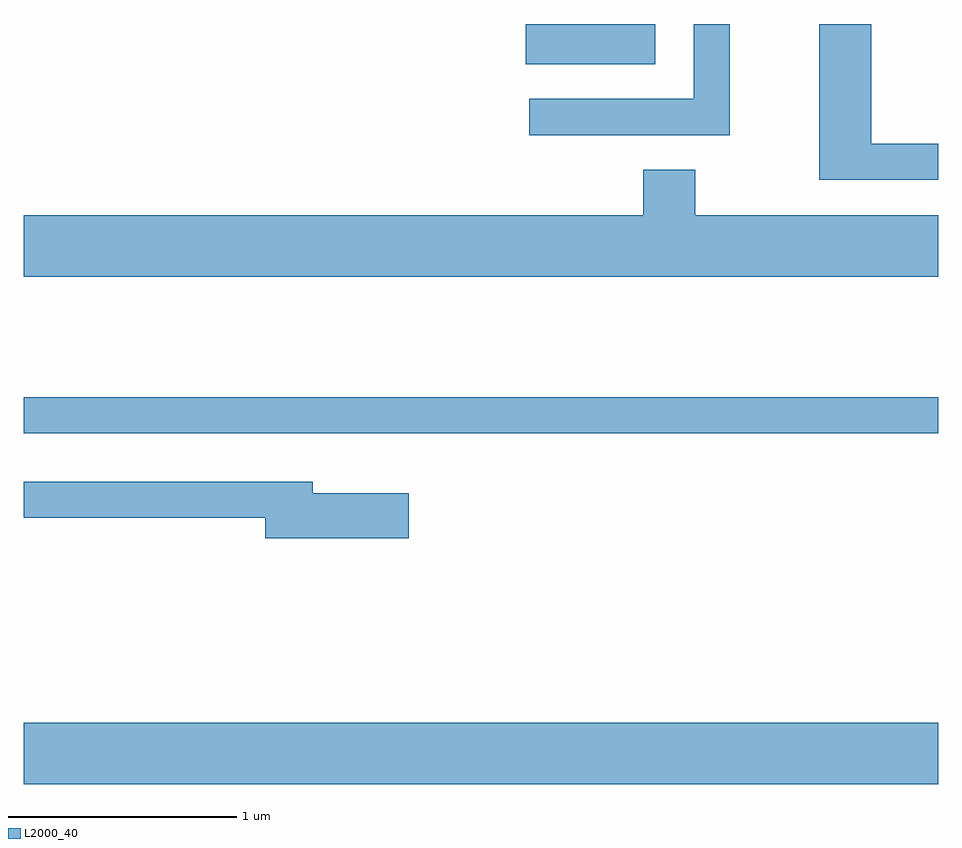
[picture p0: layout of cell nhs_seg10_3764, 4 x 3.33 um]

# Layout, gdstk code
import gdstk
lib = gdstk.Library(unit=1e-6, precision=1e-09)
def R(c, l, rs):  # rectangles x0, y0, x1, y1
    for r in rs: c.add(gdstk.rectangle(r[:2], r[2:], *l))
def P(c, l, *ps):  # polygons
    for p in ps: c.add(gdstk.Polygon(p, *l))
L2000_40 = (2000, 40)

nhs_seg10_3764 = lib.new_cell('nhs_seg10_3764')
R(nhs_seg10_3764, L2000_40, [(295.611,2167.196,299.611,2167.464), (295.611,2168.731,299.611,2168.889), (297.806,2170.346,298.374,2170.522)])
P(nhs_seg10_3764, L2000_40, [(298.699,2170.522),(298.541,2170.522),(298.541,2170.194),(297.823,2170.194),(297.823,2170.036),(298.699,2170.036)],
  [(299.611,2169.999),(299.319,2169.999),(299.319,2170.522),(299.091,2170.522),(299.091,2169.841),(299.611,2169.841)],
  [(299.611,2169.684),(298.549,2169.684),(298.549,2169.884),(298.321,2169.884),(298.321,2169.684),(295.611,2169.684),(295.611,2169.416),(299.611,2169.416)],
  [(297.294,2168.469),(296.874,2168.469),(296.874,2168.519),(295.611,2168.519),(295.611,2168.361),(296.666,2168.361),(296.666,2168.271),(297.294,2168.271)])

lib.write_gds('nhs_seg10_3764.gds')
